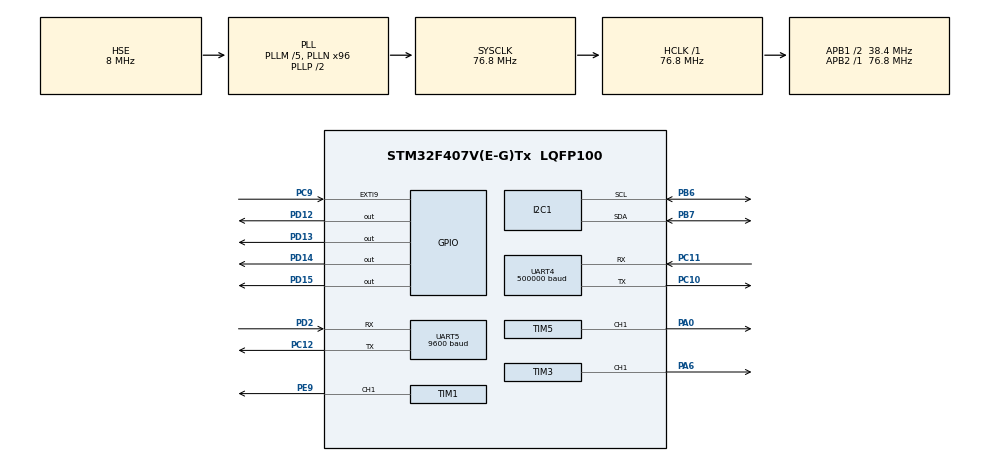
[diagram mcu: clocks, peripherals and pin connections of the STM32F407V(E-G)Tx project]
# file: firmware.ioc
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Dma.I2C1_RX.0.Direction=DMA_PERIPH_TO_MEMORY
Dma.I2C1_RX.0.FIFOMode=DMA_FIFOMODE_DISABLE
Dma.I2C1_RX.0.Instance=DMA1_Stream5
Dma.I2C1_RX.0.MemDataAlignment=DMA_MDATAALIGN_BYTE
Dma.I2C1_RX.0.MemInc=DMA_MINC_ENABLE
Dma.I2C1_RX.0.Mode=DMA_NORMAL
Dma.I2C1_RX.0.PeriphDataAlignment=DMA_PDATAALIGN_BYTE
Dma.I2C1_RX.0.PeriphInc=DMA_PINC_DISABLE
Dma.I2C1_RX.0.Priority=DMA_PRIORITY_VERY_HIGH
Dma.Request0=I2C1_RX
Dma.Request1=UART4_TX
Dma.Request2=UART5_TX
Dma.Request3=UART4_RX
Dma.UART4_RX.3.Direction=DMA_PERIPH_TO_MEMORY
Dma.UART4_RX.3.FIFOMode=DMA_FIFOMODE_DISABLE
Dma.UART4_RX.3.Instance=DMA1_Stream2
Dma.UART4_RX.3.MemDataAlignment=DMA_MDATAALIGN_BYTE
Dma.UART4_RX.3.MemInc=DMA_MINC_ENABLE
Dma.UART4_RX.3.Mode=DMA_NORMAL
Dma.UART4_RX.3.PeriphDataAlignment=DMA_PDATAALIGN_BYTE
Dma.UART4_RX.3.PeriphInc=DMA_PINC_DISABLE
Dma.UART4_RX.3.Priority=DMA_PRIORITY_LOW
Dma.UART4_TX.1.Direction=DMA_MEMORY_TO_PERIPH
Dma.UART4_TX.1.FIFOMode=DMA_FIFOMODE_DISABLE
Dma.UART4_TX.1.Instance=DMA1_Stream4
Dma.UART4_TX.1.MemDataAlignment=DMA_MDATAALIGN_BYTE
Dma.UART4_TX.1.MemInc=DMA_MINC_ENABLE
Dma.UART4_TX.1.Mode=DMA_NORMAL
Dma.UART4_TX.1.PeriphDataAlignment=DMA_PDATAALIGN_BYTE
Dma.UART4_TX.1.PeriphInc=DMA_PINC_DISABLE
Dma.UART4_TX.1.Priority=DMA_PRIORITY_LOW
Dma.UART5_TX.2.Direction=DMA_MEMORY_TO_PERIPH
Dma.UART5_TX.2.FIFOMode=DMA_FIFOMODE_DISABLE
Dma.UART5_TX.2.Instance=DMA1_Stream7
Dma.UART5_TX.2.MemDataAlignment=DMA_MDATAALIGN_BYTE
Dma.UART5_TX.2.MemInc=DMA_MINC_ENABLE
Dma.UART5_TX.2.Mode=DMA_NORMAL
Dma.UART5_TX.2.PeriphDataAlignment=DMA_PDATAALIGN_BYTE
Dma.UART5_TX.2.PeriphInc=DMA_PINC_DISABLE
Dma.UART5_TX.2.Priority=DMA_PRIORITY_LOW
I2C1.DutyCycle=I2C_DUTYCYCLE_16_9
I2C1.I2C_Mode=I2C_Fast
Mcu.Family=STM32F4
Mcu.Name=STM32F407V(E-G)Tx
Mcu.Package=LQFP100
NVIC.DMA1_Stream2_IRQn=true\:5\:0\:true\:false\:true\:false\:true
NVIC.DMA1_Stream4_IRQn=true\:5\:0\:true\:false\:true\:false\:true
NVIC.DMA1_Stream5_IRQn=true\:5\:0\:true\:false\:true\:false\:true
NVIC.DMA1_Stream7_IRQn=true\:5\:0\:true\:false\:true\:false\:true
NVIC.EXTI9_5_IRQn=true\:0\:0\:false\:false\:true\:true\:true
NVIC.I2C1_EV_IRQn=true\:0\:0\:true\:false\:true\:true\:true
NVIC.PriorityGroup=NVIC_PRIORITYGROUP_4
NVIC.TIM1_CC_IRQn=true\:4\:0\:true\:false\:true\:true\:true
NVIC.TIM3_IRQn=true\:4\:0\:true\:false\:true\:true\:true
NVIC.TIM5_IRQn=true\:0\:0\:true\:false\:true\:true\:true
NVIC.UART4_IRQn=true\:5\:0\:true\:false\:true\:true\:true
NVIC.UART5_IRQn=true\:5\:0\:true\:false\:true\:true\:true
PA0-WKUP.Signal=S_TIM5_CH1
PA6.Signal=S_TIM3_CH1
PB6.Mode=I2C
PB6.Signal=I2C1_SCL
PB7.Mode=I2C
PB7.Signal=I2C1_SDA
PC10.Mode=Asynchronous
PC10.Signal=UART4_TX
PC11.Mode=Asynchronous
PC11.Signal=UART4_RX
PC12.Mode=Asynchronous
PC12.Signal=UART5_TX
PC9.Signal=GPXTI9
PD12.Signal=GPIO_Output
PD13.Signal=GPIO_Output
PD14.Signal=GPIO_Output
PD15.Signal=GPIO_Output
PD2.Mode=Asynchronous
PD2.Signal=UART5_RX
PE9.Signal=S_TIM1_CH1
PH0-OSC_IN.Mode=HSE-External-Oscillator
PH0-OSC_IN.Signal=RCC_OSC_IN
PH1-OSC_OUT.Mode=HSE-External-Oscillator
PH1-OSC_OUT.Signal=RCC_OSC_OUT
ProjectManager.HeapSize=0x200
ProjectManager.StackSize=0x400
ProjectManager.TargetToolchain=STM32CubeIDE
RCC.48MHZClocksFreq_Value=38400000
RCC.AHBFreq_Value=76800000
RCC.APB1CLKDivider=RCC_HCLK_DIV2
RCC.APB1Freq_Value=38400000
RCC.APB1TimFreq_Value=76800000
RCC.APB2Freq_Value=76800000
RCC.APB2TimFreq_Value=76800000
RCC.CortexFreq_Value=76800000
RCC.HCLKFreq_Value=76800000
RCC.HSE_VALUE=8000000
RCC.HSI_VALUE=16000000
RCC.LSE_VALUE=32768
RCC.PLLM=5
RCC.PLLN=96
RCC.PLLSourceVirtual=RCC_PLLSOURCE_HSE
RCC.RCC_MCO1Source=RCC_MCO1SOURCE_LSE
RCC.RCC_MCO2Source=RCC_MCO2SOURCE_HSE
RCC.RCC_RTC_Clock_Source=RCC_RTCCLKSOURCE_HSE_DIV25
RCC.RCC_RTC_Clock_SourceVirtual=RCC_RTCCLKSOURCE_LSE
RCC.RCC_RTC_Clock_Source_FROM_HSE=RCC_RTCCLKSOURCE_HSE_DIV25
RCC.SYSCLKFreq_VALUE=76800000
RCC.SYSCLKSource=RCC_SYSCLKSOURCE_PLLCLK
RCC.VCOOutputFreq_Value=153600000
RTC.AsynchPrediv=32-1
RTC.SynchPrediv=10000-1
SH.S_TIM1_CH1.0=TIM1_CH1,Output Compare1 CH1
SH.S_TIM3_CH1.0=TIM3_CH1,Output Compare1 CH1
SH.S_TIM5_CH1.0=TIM5_CH1,Output Compare1 CH1
TIM1.AutoReloadPreload=TIM_AUTORELOAD_PRELOAD_DISABLE
TIM1.Channel-Output\ Compare1\ CH1=TIM_CHANNEL_1
TIM1.ClockDivision=TIM_CLOCKDIVISION_DIV1
TIM1.OCMode_1=TIM_OCMODE_TOGGLE
TIM1.Period=5000-1
TIM1.Prescaler=7680-1
TIM1.RepetitionCounter=0
TIM1.TIM_MasterOutputTrigger=TIM_TRGO_RESET
TIM1.TIM_MasterSlaveMode=TIM_MASTERSLAVEMODE_DISABLE
TIM3.AutoReloadPreload=TIM_AUTORELOAD_PRELOAD_ENABLE
TIM3.Channel-Output\ Compare1\ CH1=TIM_CHANNEL_1
TIM3.ClockDivision=TIM_CLOCKDIVISION_DIV1
TIM3.OC1Preload=ENABLE
TIM3.OCMode_1=TIM_OCMODE_TOGGLE
TIM3.Period=1
TIM3.Prescaler=0
TIM3.TIM_MasterOutputTrigger=TIM_TRGO_RESET
TIM5.AutoReloadPreload=TIM_AUTORELOAD_PRELOAD_ENABLE
TIM5.Channel-Output\ Compare1\ CH1=TIM_CHANNEL_1
TIM5.CounterMode=TIM_COUNTERMODE_UP
TIM5.OC1Preload=ENABLE
TIM5.OCMode_1=TIM_OCMODE_TOGGLE
TIM5.Period=25600000 - 1
TIM5.Prescaler=3-1
TIM5.TIM_MasterOutputTrigger=TIM_TRGO_RESET
UART4.BaudRate=500000
UART4.VirtualMode=Asynchronous
UART5.BaudRate=9600
UART5.VirtualMode=Asynchronous
VP_RTC_VS_RTC_Activate.Mode=RTC_Enabled
VP_TIM1_VS_ClockSourceINT.Mode=Internal
VP_TIM3_VS_ClockSourceINT.Mode=Internal
VP_TIM5_VS_ClockSourceINT.Mode=Internal
board=custom

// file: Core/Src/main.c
/* USER CODE BEGIN Header */
/**
  ******************************************************************************
  * @file           : main.c
  * @brief          : Main program body
  ******************************************************************************
  * @attention
  *
  * <h2><center>&copy; Copyright (c) 2019 STMicroelectronics.
  * All rights reserved.</center></h2>
  *
  * This software component is licensed by ST under BSD 3-Clause license,
  * the "License"; You may not use this file except in compliance with the
  * License. You may obtain a copy of the License at:
  *                        opensource.org/licenses/BSD-3-Clause
  *
  ******************************************************************************
  */
/* USER CODE END Header */

#include "main.h"

/* USER CODE BEGIN Includes */
#include <stdio.h>
/* USER CODE END Includes */

/* USER CODE BEGIN PD */
// Number of IMU data symbols to be sent to PC
#define N_IMU_CHARS 58
// Number of lidar time symbols to be sent to PC
#define N_LIDAR_CHARS 18
// Number of IMU+lidar data symbols to be sent to PC
#define N_CHARS (N_IMU_CHARS + N_LIDAR_CHARS)
// Length of NMEA GPRMC message to lidar
#define N_CHARS_TO_LIDAR 66
// IMU data length
#define N_BYTES 14
/* USER CODE END PD */

I2C_HandleTypeDef hi2c1;
DMA_HandleTypeDef hdma_i2c1_rx;

RTC_HandleTypeDef hrtc;

TIM_HandleTypeDef htim1;
TIM_HandleTypeDef htim3;
TIM_HandleTypeDef htim5;

UART_HandleTypeDef huart4;
UART_HandleTypeDef huart5;
DMA_HandleTypeDef hdma_uart4_tx;
DMA_HandleTypeDef hdma_uart4_rx;
DMA_HandleTypeDef hdma_uart5_tx;

/* USER CODE BEGIN PV */
// String buffer for data to be sent to PC
uint8_t str[N_CHARS];

// IMU samples counter
uint16_t count = 0;
// Flag to read new IMU sample
uint8_t flag_read_imu_values = 0;
// Flag to send NMEA GPRMC message to lidar
uint8_t flag_transmit_to_lidar = 0;
// Flag of lidar timestamp readiness to sent to PC
uint8_t flag_lidar_ts_ready = 0;
uint8_t buf_flag_lidar_ts_ready = 0;

RTC_TimeTypeDef sTime_imu = {0}, sTime_lidar = {0};
RTC_DateTypeDef sDate_imu = {0}, sDate_lidar = {0};

// IMU data buffer
uint8_t dat[N_BYTES];
uint8_t dat_buf[N_BYTES];
// NMEA GPRMC message buffer
uint8_t lidar_str[N_CHARS_TO_LIDAR];

uint8_t soft_rtc_h = 0;
uint8_t soft_rtc_m = 0;
uint8_t soft_rtc_s = 0;
uint32_t soft_rtc_subs = 0;

uint8_t soft_rtc_imu_h = 0;
uint8_t soft_rtc_imu_m = 0;
uint8_t soft_rtc_imu_s = 0;
uint32_t soft_rtc_imu_subs = 0;

uint8_t soft_rtc_lidar_h = 0;
uint8_t soft_rtc_lidar_m = 0;
uint8_t soft_rtc_lidar_s = 0;
uint32_t soft_rtc_lidar_subs = 0;

/* USER CODE END PV */

void SystemClock_Config(void);
static void MX_GPIO_Init(void);
static void MX_TIM1_Init(void);
static void MX_TIM3_Init(void);
static void MX_DMA_Init(void);
static void MX_I2C1_Init(void);
static void MX_RTC_Init(void);
static void MX_UART4_Init(void);
static void MX_UART5_Init(void);
static void MX_TIM5_Init(void);

/* USER CODE BEGIN 0 */

uint32_t read_TIM5() {
  return TIM5->CNT;
}

// IMU interrupt handler
void HAL_GPIO_EXTI_Callback(uint16_t GPIO_Pin) {
	//HAL_GPIO_WritePin(GPIOC, GPIO_PIN_8, GPIO_PIN_SET);
	if(GPIO_Pin == GPIO_PIN_9)
  {
  	flag_read_imu_values = 1;
  	soft_rtc_imu_subs = read_TIM5();
		soft_rtc_imu_s = soft_rtc_s;
		soft_rtc_imu_m = soft_rtc_m;
		HAL_GPIO_TogglePin(GPIOD, GPIO_PIN_12);
  }
}

// IMU setup
void setup_mpu(void) {
	uint8_t dat[] = {5, 16, 1, 1};
	uint8_t adds[] = {107, 55, 26, 56};
	uint8_t n_of_bytes = sizeof(dat) / sizeof(dat[0]);
	for (uint8_t idx=0; idx<n_of_bytes; idx++) {
		HAL_I2C_Mem_Write(&hi2c1, 0x68<<1, adds[idx], 1, &dat[idx], 1, 1000);
	}
}

// Message preparation to be sent to PC
void make_message(void) {
	sprintf((char*)str,
		"i0"																				//2
		"%02x %02x %04x %04x "											//16
		"%04x %04x %04x %04x %04x %04x %04x "			 	//35
		"%04x"																			//4
		"\n", 																			//1
																								//=58
		(uint8_t)soft_rtc_imu_m,
		(uint8_t)soft_rtc_imu_s,
		(uint16_t)(soft_rtc_imu_subs>>16),
		(uint16_t)(soft_rtc_imu_subs),

		(uint16_t)(dat_buf[0]<<8 | dat_buf[1]),
		(uint16_t)(dat_buf[2]<<8 | dat_buf[3]),
		(uint16_t)(dat_buf[4]<<8 | dat_buf[5]),
		(uint16_t)(dat_buf[6]<<8 | dat_buf[7]),
		(uint16_t)(dat_buf[8]<<8 | dat_buf[9]),
		(uint16_t)(dat_buf[10]<<8 | dat_buf[11]),
		(uint16_t)(dat_buf[12]<<8 | dat_buf[13]),

		count);
	if (buf_flag_lidar_ts_ready == 1) {
		sprintf((char*)(str + N_IMU_CHARS),
			"l0"																			//2
			"%02x %02x %04x %04x"											//15
			"\n", 																		//1
																								//=18
			(uint8_t)soft_rtc_lidar_m,
			(uint8_t)soft_rtc_lidar_s,
			(uint16_t)(soft_rtc_lidar_subs>>16),
			(uint16_t)(soft_rtc_lidar_subs)
		);
	}
}

uint8_t checksum(char * s, uint8_t start, uint8_t end) {
    uint8_t c = 0;
    for (uint8_t i=start; i<end; i++) {
      c = c ^ s[i];
    }
    return c;
}
// NMEA GPRMC message generation
void make_lidar_string(void) {
	sprintf((char*)lidar_str,
		"$GPRMC"																							//6
		",%02d%02d%02d"																				//7
		",A,5542.2389,N,03741.6063,E,0.06,25.82,200906,,,*"		//49
		"00"																									//2
		"\r\n", 																							//2
																													//=66
		(uint8_t)soft_rtc_lidar_h,
		(uint8_t)soft_rtc_lidar_m,
		(uint8_t)soft_rtc_lidar_s
	);
	uint8_t start = 1, end = N_CHARS_TO_LIDAR-5;
	uint8_t c = checksum((char*)lidar_str, start, end);
	sprintf((char*)&lidar_str[end+1], "%02X", c);
}

void delay(uint16_t n) {
	for (uint16_t i=0; i<n; i++) {
		;
	}
}

void cp() {
	for (uint8_t i=0; i<N_BYTES; i++) {
		dat_buf[i] = dat[i];
	}
}
// Timers interrupts handler
void HAL_TIM_OC_DelayElapsedCallback(TIM_HandleTypeDef *htim) {
	if (htim->Instance == htim5.Instance) {
		soft_rtc_s ++;
		if (soft_rtc_s == 60) {
			soft_rtc_s = 0;
			soft_rtc_m ++;
			if (soft_rtc_m == 60) {
				soft_rtc_m = 0;
				soft_rtc_h ++;
				if (soft_rtc_h == 24) {
					soft_rtc_h = 0;
				}
			}
		}
	}
	else if (htim->Instance == htim1.Instance)
	{
		if(HAL_GPIO_ReadPin(GPIOE, GPIO_PIN_9)==GPIO_PIN_SET) { // if timer output is HIGH

			soft_rtc_lidar_subs = read_TIM5();
			soft_rtc_lidar_s = soft_rtc_s;
			soft_rtc_lidar_m = soft_rtc_m;
			flag_lidar_ts_ready = 1;
			flag_transmit_to_lidar = 1;
		}
	}
}
// UART receive (PC -> MCU) interrupt handler template
void HAL_UART_RxCpltCallback(UART_HandleTypeDef *huart) {
    if (huart->Instance == UART4) {
    	;
    }
}

/* USER CODE END 0 */

int main(void)
{

  /* MCU Configuration--------------------------------------------------------*/

  /* Reset of all peripherals, Initializes the Flash interface and the Systick. */
  HAL_Init();

  /* Configure the system clock */
  SystemClock_Config();

  /* Initialize all configured peripherals */
  MX_GPIO_Init();
  MX_TIM1_Init();
  MX_TIM3_Init();
  MX_DMA_Init();
  MX_I2C1_Init();
  MX_RTC_Init();
  MX_UART4_Init();
  MX_UART5_Init();
  MX_TIM5_Init();
  /* USER CODE BEGIN 2 */

  HAL_NVIC_DisableIRQ(EXTI9_5_IRQn);
  setup_mpu();
  HAL_NVIC_EnableIRQ(EXTI9_5_IRQn);

	HAL_TIM_OC_Start_IT(&htim5, TIM_CHANNEL_1);
	delay(10);
	HAL_TIM_OC_Start(&htim3, TIM_CHANNEL_1);
	delay(10);
	HAL_TIM_OC_Start_IT(&htim1, TIM_CHANNEL_1);

	//Update_event = TIM_CLK/((PSC + 1)*(ARR + 1)*(RCR + 1))
  //TIM_CLK = timer clock input
  //PSC = 16-bit prescaler register
  //ARR = 16/32-bit Autoreload register
  //RCR = 16-bit repetition counter

  //76.8 / ((0 + 1) * (1 + 1)) / 2 = 19.2 MHz TIM3 IMU
	//76.8 * 1000000 / ((7680 - 1 + 1) * (5000 - 1 + 1)) / 2 = 1 Hz TIM1 LIDAR
	//76.8 * 1000000 / ((3 - 1 + 1) * (25600000 - 1 + 1)) = 1 Hz TIM5

/*----------|  |------------
|                          |
|                          |
|                          |
|                          |
|::                      ::|
|::                      ::|
|::                      ::|
|::                      ::|
|::                      ::|
|::                      ::|
|::                      ::|
|::      [D13 ORNG]      ::|
|:: [D12 GRN]  [D14 RED] ::|
|::      [D15 BLUE]      ::|
|::                      ::|
|::                      ::|
|::             [D5 USB] ::|
--------------------------*/
  /* USER CODE END 2 */

  /* Infinite loop */
  /* USER CODE BEGIN WHILE */
  while (1)
  {
  	HAL_GPIO_WritePin(GPIOD, GPIO_PIN_13, HAL_GPIO_ReadPin(GPIOA, GPIO_PIN_5)); // for debugging
  	//HAL_GPIO_WritePin(GPIOD, GPIO_PIN_14, HAL_GPIO_ReadPin(GPIOE, GPIO_PIN_9)); // forward timer output signal to led pin
  	//HAL_GPIO_WritePin(GPIOD, GPIO_PIN_15, HAL_GPIO_ReadPin(GPIOA, GPIO_PIN_0)); // forward timer output signal to led pin
  	if (flag_read_imu_values == 1) { // if IMU data is ready to be read
			HAL_NVIC_DisableIRQ(EXTI9_5_IRQn);
			flag_read_imu_values = 0;
			//HAL_GPIO_WritePin(GPIOD, GPIO_PIN_14, GPIO_PIN_SET);
			count++;
			cp();
			// Read IMU data
			HAL_I2C_Mem_Read_DMA(&hi2c1, 0x68<<1, 59, 1, dat, 14);
			buf_flag_lidar_ts_ready = flag_lidar_ts_ready;

			//HAL_GPIO_WritePin(GPIOD, GPIO_PIN_15, GPIO_PIN_SET);
			// Send data to PC
			uint8_t mes_length = N_IMU_CHARS + buf_flag_lidar_ts_ready * N_LIDAR_CHARS;
			make_message();
			HAL_UART_Transmit_DMA(&huart4, str, mes_length);//, 1000);	//HAL_UART_Transmit_DMA(&huart4, str, N_CHARS);
			delay(7000);
			//if(count & 1024) { HAL_GPIO_TogglePin(GPIOD, GPIO_PIN_15);}
			if(__HAL_GPIO_EXTI_GET_IT(GPIO_PIN_9) != RESET) {__HAL_GPIO_EXTI_CLEAR_IT(GPIO_PIN_9);}
			HAL_NVIC_EnableIRQ(EXTI9_5_IRQn);
			//HAL_GPIO_WritePin(GPIOD, GPIO_PIN_14, GPIO_PIN_RESET);

			if (buf_flag_lidar_ts_ready == 1) {
				flag_lidar_ts_ready = 0;
			}
		}
  	if (flag_transmit_to_lidar==1) { // if NMEA GPRMC message must be sent
  		flag_transmit_to_lidar = 0;
  		make_lidar_string();
  		// Send NMEA GPRMC message to lidar
  		HAL_UART_Transmit_DMA(&huart5, lidar_str, N_CHARS_TO_LIDAR);
  	}
    /* USER CODE END WHILE */

  }
}

void SystemClock_Config(void)
{
  RCC_OscInitTypeDef RCC_OscInitStruct = {0};
  RCC_ClkInitTypeDef RCC_ClkInitStruct = {0};
  RCC_PeriphCLKInitTypeDef PeriphClkInitStruct = {0};

  /** Configure the main internal regulator output voltage
  */
  __HAL_RCC_PWR_CLK_ENABLE();
  __HAL_PWR_VOLTAGESCALING_CONFIG(PWR_REGULATOR_VOLTAGE_SCALE1);
  /** Initializes the CPU, AHB and APB busses clocks
  */
  RCC_OscInitStruct.OscillatorType = RCC_OSCILLATORTYPE_HSE|RCC_OSCILLATORTYPE_LSE;
  RCC_OscInitStruct.HSEState = RCC_HSE_ON;
  RCC_OscInitStruct.LSEState = RCC_LSE_OFF;
  RCC_OscInitStruct.PLL.PLLState = RCC_PLL_ON;
  RCC_OscInitStruct.PLL.PLLSource = RCC_PLLSOURCE_HSE;
  RCC_OscInitStruct.PLL.PLLM = 5;
  RCC_OscInitStruct.PLL.PLLN = 96;
  RCC_OscInitStruct.PLL.PLLP = RCC_PLLP_DIV2;
  RCC_OscInitStruct.PLL.PLLQ = 4;
  if (HAL_RCC_OscConfig(&RCC_OscInitStruct) != HAL_OK)
  {
    Error_Handler();
  }
  /** Initializes the CPU, AHB and APB busses clocks
  */
  RCC_ClkInitStruct.ClockType = RCC_CLOCKTYPE_HCLK|RCC_CLOCKTYPE_SYSCLK
                              |RCC_CLOCKTYPE_PCLK1|RCC_CLOCKTYPE_PCLK2;
  RCC_ClkInitStruct.SYSCLKSource = RCC_SYSCLKSOURCE_PLLCLK;
  RCC_ClkInitStruct.AHBCLKDivider = RCC_SYSCLK_DIV1;
  RCC_ClkInitStruct.APB1CLKDivider = RCC_HCLK_DIV2;
  RCC_ClkInitStruct.APB2CLKDivider = RCC_HCLK_DIV1;

  if (HAL_RCC_ClockConfig(&RCC_ClkInitStruct, FLASH_LATENCY_2) != HAL_OK)
  {
    Error_Handler();
  }
  PeriphClkInitStruct.PeriphClockSelection = RCC_PERIPHCLK_RTC;
  PeriphClkInitStruct.RTCClockSelection = RCC_RTCCLKSOURCE_HSE_DIV25;
  if (HAL_RCCEx_PeriphCLKConfig(&PeriphClkInitStruct) != HAL_OK)
  {
    Error_Handler();
  }
}

static void MX_I2C1_Init(void)
{

  hi2c1.Instance = I2C1;
  hi2c1.Init.ClockSpeed = 400000;
  hi2c1.Init.DutyCycle = I2C_DUTYCYCLE_16_9;
  hi2c1.Init.OwnAddress1 = 0;
  hi2c1.Init.AddressingMode = I2C_ADDRESSINGMODE_7BIT;
  hi2c1.Init.DualAddressMode = I2C_DUALADDRESS_DISABLE;
  hi2c1.Init.OwnAddress2 = 0;
  hi2c1.Init.GeneralCallMode = I2C_GENERALCALL_DISABLE;
  hi2c1.Init.NoStretchMode = I2C_NOSTRETCH_DISABLE;
  if (HAL_I2C_Init(&hi2c1) != HAL_OK)
  {
    Error_Handler();
  }

}

static void MX_RTC_Init(void)
{

  /** Initialize RTC Only
  */
  hrtc.Instance = RTC;
  hrtc.Init.HourFormat = RTC_HOURFORMAT_24;
  hrtc.Init.AsynchPrediv = 32-1;
  hrtc.Init.SynchPrediv = 10000-1;
  hrtc.Init.OutPut = RTC_OUTPUT_DISABLE;
  hrtc.Init.OutPutPolarity = RTC_OUTPUT_POLARITY_HIGH;
  hrtc.Init.OutPutType = RTC_OUTPUT_TYPE_OPENDRAIN;
  if (HAL_RTC_Init(&hrtc) != HAL_OK)
  {
    Error_Handler();
  }

}

static void MX_TIM1_Init(void)
{

  TIM_ClockConfigTypeDef sClockSourceConfig = {0};
  TIM_MasterConfigTypeDef sMasterConfig = {0};
  TIM_OC_InitTypeDef sConfigOC = {0};
  TIM_BreakDeadTimeConfigTypeDef sBreakDeadTimeConfig = {0};

  htim1.Instance = TIM1;
  htim1.Init.Prescaler = 7680-1;
  htim1.Init.CounterMode = TIM_COUNTERMODE_UP;
  htim1.Init.Period = 5000-1;
  htim1.Init.ClockDivision = TIM_CLOCKDIVISION_DIV1;
  htim1.Init.RepetitionCounter = 0;
  htim1.Init.AutoReloadPreload = TIM_AUTORELOAD_PRELOAD_DISABLE;
  if (HAL_TIM_Base_Init(&htim1) != HAL_OK)
  {
    Error_Handler();
  }
  sClockSourceConfig.ClockSource = TIM_CLOCKSOURCE_INTERNAL;
  if (HAL_TIM_ConfigClockSource(&htim1, &sClockSourceConfig) != HAL_OK)
  {
    Error_Handler();
  }
  if (HAL_TIM_OC_Init(&htim1) != HAL_OK)
  {
    Error_Handler();
  }
  sMasterConfig.MasterOutputTrigger = TIM_TRGO_RESET;
  sMasterConfig.MasterSlaveMode = TIM_MASTERSLAVEMODE_DISABLE;
  if (HAL_TIMEx_MasterConfigSynchronization(&htim1, &sMasterConfig) != HAL_OK)
  {
    Error_Handler();
  }
  sConfigOC.OCMode = TIM_OCMODE_TOGGLE;
  sConfigOC.Pulse = 0;
  sConfigOC.OCPolarity = TIM_OCPOLARITY_HIGH;
  sConfigOC.OCNPolarity = TIM_OCNPOLARITY_HIGH;
  sConfigOC.OCFastMode = TIM_OCFAST_DISABLE;
  sConfigOC.OCIdleState = TIM_OCIDLESTATE_RESET;
  sConfigOC.OCNIdleState = TIM_OCNIDLESTATE_RESET;
  if (HAL_TIM_OC_ConfigChannel(&htim1, &sConfigOC, TIM_CHANNEL_1) != HAL_OK)
  {
    Error_Handler();
  }
  sBreakDeadTimeConfig.OffStateRunMode = TIM_OSSR_DISABLE;
  sBreakDeadTimeConfig.OffStateIDLEMode = TIM_OSSI_DISABLE;
  sBreakDeadTimeConfig.LockLevel = TIM_LOCKLEVEL_OFF;
  sBreakDeadTimeConfig.DeadTime = 0;
  sBreakDeadTimeConfig.BreakState = TIM_BREAK_DISABLE;
  sBreakDeadTimeConfig.BreakPolarity = TIM_BREAKPOLARITY_HIGH;
  sBreakDeadTimeConfig.AutomaticOutput = TIM_AUTOMATICOUTPUT_DISABLE;
  if (HAL_TIMEx_ConfigBreakDeadTime(&htim1, &sBreakDeadTimeConfig) != HAL_OK)
  {
    Error_Handler();
  }
  HAL_TIM_MspPostInit(&htim1);

}

static void MX_TIM3_Init(void)
{

  TIM_ClockConfigTypeDef sClockSourceConfig = {0};
  TIM_MasterConfigTypeDef sMasterConfig = {0};
  TIM_OC_InitTypeDef sConfigOC = {0};

  htim3.Instance = TIM3;
  htim3.Init.Prescaler = 0;
  htim3.Init.CounterMode = TIM_COUNTERMODE_UP;
  htim3.Init.Period = 1;
  htim3.Init.ClockDivision = TIM_CLOCKDIVISION_DIV1;
  htim3.Init.AutoReloadPreload = TIM_AUTORELOAD_PRELOAD_ENABLE;
  if (HAL_TIM_Base_Init(&htim3) != HAL_OK)
  {
    Error_Handler();
  }
  sClockSourceConfig.ClockSource = TIM_CLOCKSOURCE_INTERNAL;
  if (HAL_TIM_ConfigClockSource(&htim3, &sClockSourceConfig) != HAL_OK)
  {
    Error_Handler();
  }
  if (HAL_TIM_OC_Init(&htim3) != HAL_OK)
  {
    Error_Handler();
  }
  sMasterConfig.MasterOutputTrigger = TIM_TRGO_RESET;
  sMasterConfig.MasterSlaveMode = TIM_MASTERSLAVEMODE_DISABLE;
  if (HAL_TIMEx_MasterConfigSynchronization(&htim3, &sMasterConfig) != HAL_OK)
  {
    Error_Handler();
  }
  sConfigOC.OCMode = TIM_OCMODE_TOGGLE;
  sConfigOC.Pulse = 0;
  sConfigOC.OCPolarity = TIM_OCPOLARITY_HIGH;
  sConfigOC.OCFastMode = TIM_OCFAST_DISABLE;
  if (HAL_TIM_OC_ConfigChannel(&htim3, &sConfigOC, TIM_CHANNEL_1) != HAL_OK)
  {
    Error_Handler();
  }
  __HAL_TIM_ENABLE_OCxPRELOAD(&htim3, TIM_CHANNEL_1);
  HAL_TIM_MspPostInit(&htim3);

}

static void MX_TIM5_Init(void)
{

  TIM_ClockConfigTypeDef sClockSourceConfig = {0};
  TIM_MasterConfigTypeDef sMasterConfig = {0};
  TIM_OC_InitTypeDef sConfigOC = {0};

  htim5.Instance = TIM5;
  htim5.Init.Prescaler = 3-1;
  htim5.Init.CounterMode = TIM_COUNTERMODE_UP;
  htim5.Init.Period = 25600000 - 1;
  htim5.Init.ClockDivision = TIM_CLOCKDIVISION_DIV1;
  htim5.Init.AutoReloadPreload = TIM_AUTORELOAD_PRELOAD_ENABLE;
  if (HAL_TIM_Base_Init(&htim5) != HAL_OK)
  {
    Error_Handler();
  }
  sClockSourceConfig.ClockSource = TIM_CLOCKSOURCE_INTERNAL;
  if (HAL_TIM_ConfigClockSource(&htim5, &sClockSourceConfig) != HAL_OK)
  {
    Error_Handler();
  }
  if (HAL_TIM_OC_Init(&htim5) != HAL_OK)
  {
    Error_Handler();
  }
  sMasterConfig.MasterOutputTrigger = TIM_TRGO_RESET;
  sMasterConfig.MasterSlaveMode = TIM_MASTERSLAVEMODE_DISABLE;
  if (HAL_TIMEx_MasterConfigSynchronization(&htim5, &sMasterConfig) != HAL_OK)
  {
    Error_Handler();
  }
  sConfigOC.OCMode = TIM_OCMODE_TOGGLE;
  sConfigOC.Pulse = 0;
  sConfigOC.OCPolarity = TIM_OCPOLARITY_HIGH;
  sConfigOC.OCFastMode = TIM_OCFAST_DISABLE;
  if (HAL_TIM_OC_ConfigChannel(&htim5, &sConfigOC, TIM_CHANNEL_1) != HAL_OK)
  {
    Error_Handler();
  }
  __HAL_TIM_ENABLE_OCxPRELOAD(&htim5, TIM_CHANNEL_1);
  HAL_TIM_MspPostInit(&htim5);

}

static void MX_UART4_Init(void)
{

  huart4.Instance = UART4;
  huart4.Init.BaudRate = 500000;
  huart4.Init.WordLength = UART_WORDLENGTH_8B;
  huart4.Init.StopBits = UART_STOPBITS_1;
  huart4.Init.Parity = UART_PARITY_NONE;
  huart4.Init.Mode = UART_MODE_TX_RX;
  huart4.Init.HwFlowCtl = UART_HWCONTROL_NONE;
  huart4.Init.OverSampling = UART_OVERSAMPLING_16;
  if (HAL_UART_Init(&huart4) != HAL_OK)
  {
    Error_Handler();
  }

}

static void MX_UART5_Init(void)
{

  huart5.Instance = UART5;
  huart5.Init.BaudRate = 9600;
  huart5.Init.WordLength = UART_WORDLENGTH_8B;
  huart5.Init.StopBits = UART_STOPBITS_1;
  huart5.Init.Parity = UART_PARITY_NONE;
  huart5.Init.Mode = UART_MODE_TX_RX;
  huart5.Init.HwFlowCtl = UART_HWCONTROL_NONE;
  huart5.Init.OverSampling = UART_OVERSAMPLING_16;
  if (HAL_UART_Init(&huart5) != HAL_OK)
  {
    Error_Handler();
  }

}

static void MX_DMA_Init(void)
{

  /* DMA controller clock enable */
  __HAL_RCC_DMA1_CLK_ENABLE();

  /* DMA interrupt init */
  /* DMA1_Stream2_IRQn interrupt configuration */
  HAL_NVIC_SetPriority(DMA1_Stream2_IRQn, 5, 0);
  HAL_NVIC_EnableIRQ(DMA1_Stream2_IRQn);
  /* DMA1_Stream4_IRQn interrupt configuration */
  HAL_NVIC_SetPriority(DMA1_Stream4_IRQn, 5, 0);
  HAL_NVIC_EnableIRQ(DMA1_Stream4_IRQn);
  /* DMA1_Stream5_IRQn interrupt configuration */
  HAL_NVIC_SetPriority(DMA1_Stream5_IRQn, 5, 0);
  HAL_NVIC_EnableIRQ(DMA1_Stream5_IRQn);
  /* DMA1_Stream7_IRQn interrupt configuration */
  HAL_NVIC_SetPriority(DMA1_Stream7_IRQn, 5, 0);
  HAL_NVIC_EnableIRQ(DMA1_Stream7_IRQn);

}

static void MX_GPIO_Init(void)
{
  GPIO_InitTypeDef GPIO_InitStruct = {0};

  /* GPIO Ports Clock Enable */
  __HAL_RCC_GPIOH_CLK_ENABLE();
  __HAL_RCC_GPIOA_CLK_ENABLE();
  __HAL_RCC_GPIOE_CLK_ENABLE();
  __HAL_RCC_GPIOD_CLK_ENABLE();
  __HAL_RCC_GPIOC_CLK_ENABLE();
  __HAL_RCC_GPIOB_CLK_ENABLE();

  /*Configure GPIO pin Output Level */
  HAL_GPIO_WritePin(GPIOD, GPIO_PIN_12|GPIO_PIN_13|GPIO_PIN_14|GPIO_PIN_15, GPIO_PIN_RESET);

  /*Configure GPIO pins : PD12 PD13 PD14 PD15 */
  GPIO_InitStruct.Pin = GPIO_PIN_12|GPIO_PIN_13|GPIO_PIN_14|GPIO_PIN_15;
  GPIO_InitStruct.Mode = GPIO_MODE_OUTPUT_PP;
  GPIO_InitStruct.Pull = GPIO_NOPULL;
  GPIO_InitStruct.Speed = GPIO_SPEED_FREQ_LOW;
  HAL_GPIO_Init(GPIOD, &GPIO_InitStruct);

  /*Configure GPIO pin : PC9 */
  GPIO_InitStruct.Pin = GPIO_PIN_9;
  GPIO_InitStruct.Mode = GPIO_MODE_IT_RISING;
  GPIO_InitStruct.Pull = GPIO_NOPULL;
  HAL_GPIO_Init(GPIOC, &GPIO_InitStruct);

  /* EXTI interrupt init*/
  HAL_NVIC_SetPriority(EXTI9_5_IRQn, 0, 0);
  HAL_NVIC_EnableIRQ(EXTI9_5_IRQn);

}

void Error_Handler(void)
{
}

/************************ (C) COPYRIGHT STMicroelectronics *****END OF FILE****/
